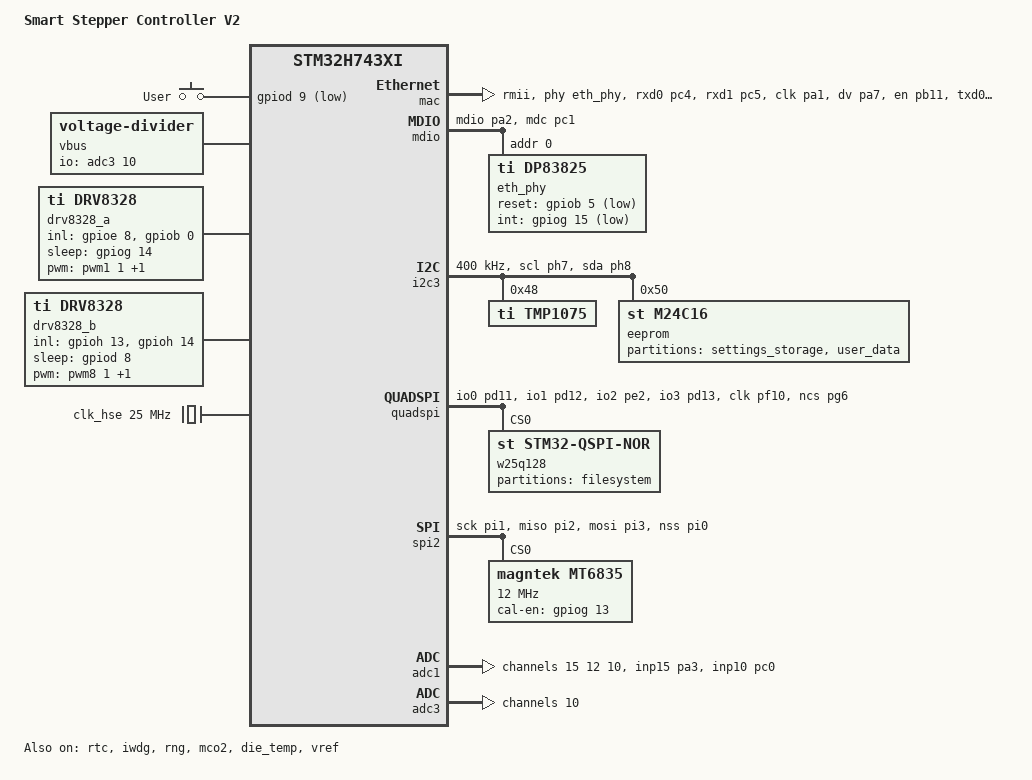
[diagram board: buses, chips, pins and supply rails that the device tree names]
/*
 * Copyright (c) 2025 Rubus Technologies Inc.
 * SPDX-License-Identifier: Apache-2.0
 */

/dts-v1/;
#include <st/h7/stm32h743Xi.dtsi>
#include <st/h7/stm32h743iikx-pinctrl.dtsi>
#include <zephyr/dt-bindings/input/input-event-codes.h>
#include <zephyr/dt-bindings/timer/stm32-timer.h>
#include <zephyr/dt-bindings/pwm/pwm.h>
#include <dt-bindings/pwm/stm32-mcpwm.h>

/ {
	model = "Smart Stepper Controller V2";
	compatible = "rubus,smartstepper_v2";

	chosen {
		zephyr,sram = &sram0;
		zephyr,flash = &flash0;
		zephyr,canbus = &fdcan1;
		zephyr,itcm = &itcm;
		zephyr,dtcm = &dtcm;
		zephyr,code-partition = &slot0_partition;
		zephyr,settings-partition = &settings_partition;
	};

	gpio_keys {
		compatible = "gpio-keys";
		user_button: button {
			label = "User";
			gpios = <&gpiod 9 (GPIO_ACTIVE_LOW | GPIO_PULL_UP)>;
			zephyr,code = <INPUT_KEY_0>;
		};
	};

	aliases {
		watchdog0 = &iwdg;
		sw0 = &user_button;
		encoder0 = &mt6835;
		die-temp0 = &die_temp;
		volt-sensor0 = &vref;
		gate-driver-a = &drv8328_a;
		gate-driver-b = &drv8328_b;		
	};

	vbus {
		compatible = "voltage-divider";
		io-channels = <&adc3 10>;
		output-ohms = <10000>;
		full-ohms = <(191000 + 10000)>;
	};

	drv8328_a: drv8328_a {
		compatible = "ti,drv8328";
		status = "okay";
		
		mode = "3x";
		
		pwms = <&pwm1 1 (PWM_POLARITY_NORMAL | STM32_PWM_OC_MODE_PWM1)>,
		       <&pwm1 2 (PWM_POLARITY_NORMAL | STM32_PWM_OC_MODE_PWM1)>;
		
		inl-gpios = <&gpioe 8 GPIO_ACTIVE_HIGH>,
		            <&gpiob 0 GPIO_ACTIVE_HIGH>;
		
		sleep-gpios = <&gpiog 14 GPIO_ACTIVE_HIGH>;
	};
	
	drv8328_b: drv8328_b {
		compatible = "ti,drv8328";
		status = "okay";
		
		mode = "3x";
		
		pwms = <&pwm8 1 (PWM_POLARITY_NORMAL | STM32_PWM_OC_MODE_PWM1)>,
		       <&pwm8 2 (PWM_POLARITY_NORMAL | STM32_PWM_OC_MODE_PWM1)>;
		
		inl-gpios = <&gpioh 13 GPIO_ACTIVE_HIGH>,
		            <&gpioh 14 GPIO_ACTIVE_HIGH>;
		
		sleep-gpios = <&gpiod 8 GPIO_ACTIVE_HIGH>;
	};
};

&clk_lsi {
	status = "okay";
};

&clk_hsi {
	status = "disabled";
};

&clk_hse {
	clock-frequency = <DT_FREQ_M(25)>;
	hse-bypass;
	status = "okay";
};

&clk_hsi48 {
	status = "okay";
};

&pll {
	div-m = <5>;
	mul-n = <192>;
	div-p = <2>;
	div-q = <5>;    /* 192 MHz */
	div-r = <2>;
	clocks = <&clk_hse>;
	status = "okay";
};

&pll2 {
	div-m = <5>;
	mul-n = <48>;
	div-p = <2>;
	div-q = <3>; /* gives 80 MHz to the FDCAN */
	div-r = <2>;
	clocks = <&clk_hse>;
	status = "okay";
};

&rcc {
	clocks = <&pll>;
	clock-frequency = <DT_FREQ_M(480)>;
	d1cpre = <1>;
	hpre = <2>;
	d1ppre = <2>;
	d2ppre1 = <2>;
	d2ppre2 = <2>;
	d3ppre = <2>;
};

&pwr {
	power-supply = "ldo";
};

&rtc {
	clocks = <&rcc STM32_CLOCK(APB4, 16)>,
		 <&rcc STM32_SRC_LSI RTC_SEL(2)>;
	status = "okay";
};

&iwdg {
	status = "okay";
};

&rng {
	status = "okay";
};

&mco2 {
	clocks = <&rcc STM32_SRC_HSE MCO2_SEL(MCO2_SEL_HSE)>;
	prescaler = <MCO2_PRE(MCO_PRE_DIV_1)>;
	pinctrl-0 = <&rcc_mco_2_pc9>;
	pinctrl-names = "default";
	status = "okay";
};

&dmamux1 {
	status = "okay";
};

&dma1 {
	status = "okay";
};

&dma2 {
	status = "okay";
};

&mac {
	status = "okay";
	pinctrl-0 = <&eth_rxd0_pc4
		     &eth_rxd1_pc5
		     &eth_ref_clk_pa1
		     &eth_crs_dv_pa7
		     &eth_tx_en_pb11
		     &eth_txd0_pb12
		     &eth_txd1_pb13>;
	pinctrl-names = "default";
	phy-connection-type = "rmii";
	phy-handle = <&eth_phy>;
};

&mdio {
	status = "okay";
	pinctrl-0 = <&eth_mdio_pa2 &eth_mdc_pc1>;
	pinctrl-names = "default";

	eth_phy: ethernet-phy@0 {
		status = "okay";
		compatible = "ti,dp83825";
		reg = <0>;
		reset-gpios = <&gpiob 5 GPIO_ACTIVE_LOW>;
		int-gpios = <&gpiog 15 GPIO_ACTIVE_LOW>;
		ti,interface-type = "rmii-25MHz";
	};
};

&i2c1 {
	pinctrl-0 = <&i2c1_scl_pb8 &i2c1_sda_pb9>;
	pinctrl-names = "default";
	clock-frequency = <I2C_BITRATE_FAST>;
	status = "disabled";
};

&i2c3 {
	pinctrl-0 = <&i2c3_scl_ph7 &i2c3_sda_ph8>;
	pinctrl-names = "default";
	status = "okay";
	clock-frequency = <I2C_BITRATE_FAST>;

	tmp1075: tmp1075@48 {
		compatible = "ti,tmp1075";
		reg = <0x48>;
		conversion-rate = <220000>;
		consecutive-fault-measurements = <4>;
		status = "okay";
	};

	eeprom: eeprom@50 {
		compatible = "st,m24c16", "st,m24xxx", "atmel,at24";
		reg = <0x50>;
		size = <DT_SIZE_K(2)>;
		pagesize = <16>;
		address-width = <8>;
		timeout = <5>;
		status = "okay";

		partitions {
			compatible = "fixed-partitions";
			#address-cells = <1>;
			#size-cells = <1>;

			/* Reserve 1KB for motor parameter settings */
			settings_partition: partition@0 {
				label = "settings_storage";
				reg = <0x0000 0x0400>;  /* 1KB at start of EEPROM */
			};

			/* Remaining 1KB available for calibration data, logs, etc. */
			user_data: partition@400 {
				label = "user_data";
				reg = <0x0400 0x0400>;  /* 1KB remaining */
			};
		};
	};

};

&usart1 {
	pinctrl-0 = <&usart1_tx_pb6 &usart1_rx_pb7>;
	pinctrl-names = "default";
	current-speed = <115200>;
	status = "disabled";
};

&quadspi {
	pinctrl-0 = <&quadspi_bk1_io0_pd11 &quadspi_bk1_io1_pd12 &quadspi_bk1_io2_pe2
		     &quadspi_bk1_io3_pd13 &quadspi_clk_pf10 &quadspi_bk1_ncs_pg6>;
	pinctrl-names = "default";
	flash-id = <1>;
	status = "okay";

	w25q128: w25q128@0 {
		compatible = "st,stm32-qspi-nor";
		reg = <0>;
		size = <DT_SIZE_M(128)>;	/* 128 Mbits (16 MB) */
		jedec-id = [ef 40 18];
		qspi-max-frequency = <DT_FREQ_M(100)>;
		cs-high-time = <2>;
		status = "okay";
		spi-bus-width = <4>;
		writeoc = "PP_1_1_4";
		reset-cmd;
		reset-cmd-wait = <2000>;

		partitions {
			compatible = "fixed-partitions";
			#address-cells = < 1 >;
			#size-cells = < 1 >;

			filesystem: partition@0 {
				label = "filesystem";
				reg=< 0x0 DT_SIZE_M(16) >;
			};
		};
	};
};

&spi2 {
	pinctrl-0 = <&spi2_sck_pi1 &spi2_miso_pi2 &spi2_mosi_pi3 &spi2_nss_pi0>;
	pinctrl-names = "default";
	// cs-gpios = <&gpioi 0 (GPIO_ACTIVE_LOW | GPIO_PULL_UP)>;
	status = "okay";

	mt6835: mt6835@0 {
		compatible = "magntek,mt6835";
		reg = <0>;
		spi-max-frequency = <DT_FREQ_M(12)>;
		cal-en-gpios = <&gpiog 13 GPIO_ACTIVE_HIGH>;
		status = "okay";
	};
};

&spi3 {
	pinctrl-0 = <&spi3_sck_pc10 &spi3_miso_pc11 &spi3_mosi_pc12 &spi3_nss_pa15>;
	pinctrl-names = "default";
	// cs-gpios = <&gpioa 15 (GPIO_ACTIVE_LOW | GPIO_PULL_UP)>;
	status = "disabled";
};

&fdcan1 {
	clocks = <&rcc STM32_CLOCK(APB1_2, 8)>,
		 <&rcc STM32_SRC_PLL2_Q FDCAN_SEL(2)>;
	pinctrl-0 = <&fdcan1_rx_pb8 &fdcan1_tx_pb9>;
	pinctrl-names = "default";
	status = "disabled";
};

zephyr_udc0: &usbotg_fs {
	pinctrl-0 = <&usb_otg_hs_dm_pb14 &usb_otg_hs_dp_pb15>;
	pinctrl-names = "default";
	status = "disabled";
};

&flash0 {
	partitions {
		compatible = "fixed-partitions";
		#address-cells = <1>;
		#size-cells = <1>;

		boot_partition: partition@0 {
			label = "mcuboot";
			reg = <0x00000000 DT_SIZE_K(128)>;
			read-only;
		};

		slot0_partition: partition@20000 {
			label = "image-0";
			reg = <0x00020000 DT_SIZE_K(256)>;
		};

		slot1_partition: partition@60000 {
			label = "image-1";
			reg = <0x00060000 DT_SIZE_K(256)>;
		};
	};
};

&timers1 {
	compatible = "rubus,stm32-timers";

	pwm1:mcpwm {
		compatible = "st,stm32-mcpwm";
		// pinctrl-0 = <&tim1_ch1_pa8 &tim1_ch1n_pe8 &tim1_ch2_pa9 &tim1_ch2n_pb0 &tim1_bkin_pe15>;
		pinctrl-0 = <&tim1_ch1_pa8 &tim1_ch2_pa9 &tim1_bkin_pe15>;
		pinctrl-names = "default";
		st,break-enable;
		st,break-polarity = "low";
		st,dead-time = <0>;
		status = "disabled";
		#pwm-cells = <2>;
	};
};

&timers8 {
	compatible = "rubus,stm32-timers";

	pwm8:mcpwm {
		compatible = "st,stm32-mcpwm";
		// pinctrl-0 = <&tim8_ch1_pc6 &tim8_ch1n_ph13 &tim8_ch2_pc7 &tim8_ch2n_ph14 &tim8_bkin_pi4>;
		pinctrl-0 = <&tim8_ch1_pc6 &tim8_ch2_pc7 &tim8_bkin_pi4>;
		pinctrl-names = "default";
		st,break-enable;
		st,break-polarity = "low";
		st,dead-time = <0>;
		status = "disabled";
		#pwm-cells = <2>;
	};
};

// &timers4 {
// 	status = "okay";

// 	pwm4: pwm {
// 		status = "disabled";
// 		pinctrl-0 = <&tim4_ch1_pd12 &tim4_ch2_pd13 &tim4_ch3_pd14 &tim4_ch4_pd15>;
// 		pinctrl-names = "default";
// 	};
// };

/* Enable pull-ups on BKIN pins */
&pinctrl {
    /omit-if-no-ref/ tim1_bkin_pe15: tim1_bkin_pe15 {
        bias-pull-up;
    };
	/omit-if-no-ref/ tim8_bkin_pi4: tim8_bkin_pi4 {
		bias-pull-up;
	};
};

&adc1 {
	pinctrl-0 = <&adc1_inp15_pa3 &analog_pc2_c &adc1_inp10_pc0 >;
	pinctrl-names = "default";
	st,adc-clock-source = "SYNC";
	st,adc-prescaler = <4>;
	status = "okay";

    // clocks = <&rcc STM32_CLOCK(AHB1, 5)>,
    //          <&rcc STM32_SRC_PLL2_P ADC_SEL(2)>;
    // clock-names = "adcx", "adc_ker";
    // st,adc-clock-source = "ASYNC";	

	vref-mv = <3000>;

	#address-cells = <1>;
	#size-cells = <0>;

	/* I_SENSE_A */
	channel@f {
		reg = <15>;
		zephyr,gain = "ADC_GAIN_1";
		zephyr,reference = "ADC_REF_INTERNAL";
		zephyr,acquisition-time = <ADC_ACQ_TIME_DEFAULT>;
		zephyr,resolution = <12>;
	};

	/* I_SENSE_B */
	channel@c {
		reg = <12>;
		zephyr,gain = "ADC_GAIN_1";
		zephyr,reference = "ADC_REF_INTERNAL";
		zephyr,acquisition-time = <ADC_ACQ_TIME_DEFAULT>;
		zephyr,resolution = <12>;
	};

	/* VINSENSE */
	channel@a {
		reg = <10>;
		zephyr,gain = "ADC_GAIN_1";
		zephyr,reference = "ADC_REF_INTERNAL";
		zephyr,acquisition-time = <ADC_ACQ_TIME_DEFAULT>;
		zephyr,resolution = <12>;
	};
};

&adc3 {
	st,adc-clock-source = "SYNC";
	st,adc-prescaler = <4>;
	status = "okay";

	vref-mv = <3000>;

	#address-cells = <1>;
	#size-cells = <0>;

	channel@a {
		reg = <10>;
		zephyr,gain = "ADC_GAIN_1";
		zephyr,reference = "ADC_REF_INTERNAL";
		zephyr,acquisition-time = <ADC_ACQ_TIME_DEFAULT>;
		zephyr,resolution = <12>;
	};
};

&die_temp {
	status = "okay";
};

&vref {
	status = "okay";
};
